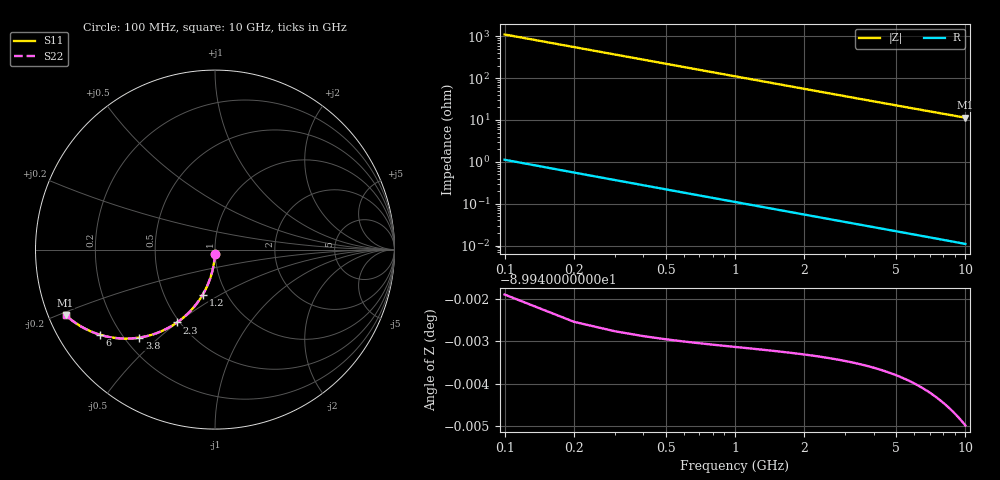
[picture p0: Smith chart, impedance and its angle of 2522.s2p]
# Hz S RI R 50.00
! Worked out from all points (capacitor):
!   100 points, 100 MHz to 10 GHz, reference 50 ohm
!   read as one part in shunt: C = 1.43 pF near 100 MHz
!   lowest |Z| = 11.4 ohm at 10 GHz (marker M1)
!   S11 on the Smith chart (normalised r, x): 100 MHz: 1.00, -0.04; 1.2 GHz: 0.77, -0.42; 2.3 GHz: 0.48, -0.50; 3.8 GHz: 0.26, -0.43; 6 GHz: 0.12, -0.32; 10 GHz: 0.05, -0.21
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1e8  -0.000517 -0.0224  0.9995 -0.0226  0.9995 -0.0226  -0.000517 -0.0224
2e8  -0.00206 -0.0448  0.9979 -0.0451  0.9979 -0.0451  -0.00206 -0.0448
3e8  -0.0046 -0.0671  0.9954 -0.0675  0.9954 -0.0675  -0.0046 -0.0671
4e8  -0.00813 -0.0891  0.9918 -0.0897  0.9918 -0.0897  -0.00813 -0.0891
5e8  -0.0126 -0.1108  0.9873 -0.1116  0.9873 -0.1116  -0.0126 -0.1108
6e8  -0.0181 -0.1322  0.9819 -0.1332  0.9819 -0.1332  -0.0181 -0.1322
7e8  -0.0244 -0.1533  0.9756 -0.1544  0.9756 -0.1544  -0.0244 -0.1533
9e8  -0.0396 -0.1939  0.9603 -0.1954  0.9603 -0.1954  -0.0396 -0.1939
1.2e9  -0.0682 -0.2507  0.9317 -0.2526  0.9317 -0.2526  -0.0682 -0.2507
1.5e9  -0.1025 -0.3017  0.8974 -0.3041  0.8974 -0.3041  -0.1025 -0.3017
1.8e9  -0.1411 -0.3462  0.8589 -0.3491  0.8589 -0.3491  -0.1411 -0.3462
2.3e9  -0.2111 -0.4058  0.7889 -0.4095  0.7889 -0.4095  -0.2111 -0.4058
2.8e9  -0.2836 -0.448  0.7164 -0.4525  0.7164 -0.4525  -0.2836 -0.448
3.4e9  -0.368 -0.479  0.6319 -0.4845  0.6319 -0.4845  -0.368 -0.479
3.8e9  -0.4208 -0.4901  0.5792 -0.4963  0.5792 -0.4963  -0.4208 -0.4901
4.4e9  -0.493 -0.4959  0.507 -0.503  0.507 -0.503  -0.493 -0.4959
5.1e9  -0.5659 -0.491  0.434 -0.4993  0.434 -0.4993  -0.5659 -0.491
6e9  -0.643 -0.4737  0.3569 -0.4835  0.3569 -0.4835  -0.643 -0.4737
6.7e9  -0.6917 -0.4558  0.3082 -0.4668  0.3082 -0.4668  -0.6917 -0.4558
7.5e9  -0.7374 -0.4333  0.2625 -0.4457  0.2625 -0.4457  -0.7374 -0.4333
8.4e9  -0.7787 -0.4076  0.2211 -0.4215  0.2211 -0.4215  -0.7787 -0.4076
1e10  -0.8329 -0.3641  0.1669 -0.3808  0.1669 -0.3808  -0.8329 -0.3641
